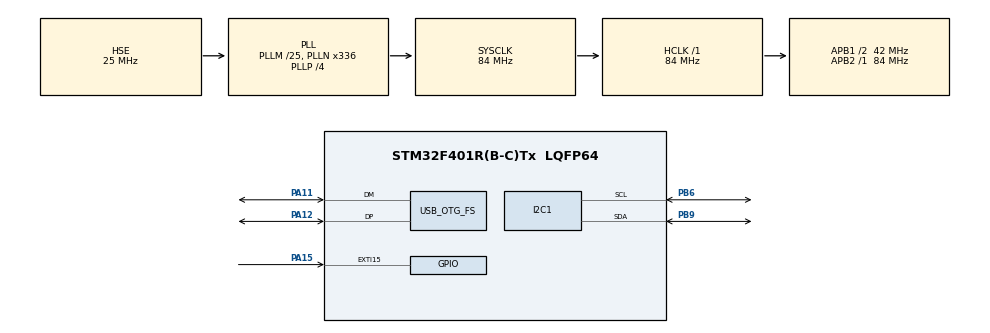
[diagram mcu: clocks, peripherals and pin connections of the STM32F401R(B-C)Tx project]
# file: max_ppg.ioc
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I2C1.I2C_Mode=I2C_Fast
Mcu.Family=STM32F4
Mcu.Name=STM32F401R(B-C)Tx
Mcu.Package=LQFP64
NVIC.EXTI15_10_IRQn=true\:0\:0\:false\:false\:true\:true\:true\:true
NVIC.OTG_FS_IRQn=true\:0\:0\:false\:false\:true\:false\:true\:true
NVIC.PriorityGroup=NVIC_PRIORITYGROUP_4
NVIC.TIM1_TRG_COM_TIM11_IRQn=true\:15\:0\:false\:false\:true\:false\:true\:true
NVIC.TimeBase=TIM1_TRG_COM_TIM11_IRQn
NVIC.TimeBaseIP=TIM11
PA11.Mode=Device_Only
PA11.Signal=USB_OTG_FS_DM
PA12.Mode=Device_Only
PA12.Signal=USB_OTG_FS_DP
PA13.Mode=Serial_Wire
PA13.Signal=SYS_JTMS-SWDIO
PA14.Mode=Serial_Wire
PA14.Signal=SYS_JTCK-SWCLK
PA15.GPIO_ModeDefaultEXTI=GPIO_MODE_IT_FALLING
PA15.GPIO_PuPd=GPIO_PULLUP
PA15.Signal=GPXTI15
PB6.Mode=I2C
PB6.Signal=I2C1_SCL
PB9.Mode=I2C
PB9.Signal=I2C1_SDA
PH0\ -\ OSC_IN.Mode=HSE-External-Oscillator
PH0\ -\ OSC_IN.Signal=RCC_OSC_IN
PH1\ -\ OSC_OUT.Mode=HSE-External-Oscillator
PH1\ -\ OSC_OUT.Signal=RCC_OSC_OUT
ProjectManager.HeapSize=0x1000
ProjectManager.StackSize=0x1000
ProjectManager.TargetToolchain=STM32CubeIDE
RCC.48MHZClocksFreq_Value=48000000
RCC.AHBFreq_Value=84000000
RCC.APB1CLKDivider=RCC_HCLK_DIV2
RCC.APB1Freq_Value=42000000
RCC.APB1TimFreq_Value=84000000
RCC.APB2Freq_Value=84000000
RCC.APB2TimFreq_Value=84000000
RCC.CortexFreq_Value=84000000
RCC.HCLKFreq_Value=84000000
RCC.HSE_VALUE=25000000
RCC.HSI_VALUE=16000000
RCC.LSE_VALUE=32768
RCC.PLLM=25
RCC.PLLN=336
RCC.PLLP=RCC_PLLP_DIV4
RCC.PLLQ=7
RCC.SYSCLKFreq_VALUE=84000000
RCC.SYSCLKSource=RCC_SYSCLKSOURCE_PLLCLK
RCC.VCOOutputFreq_Value=336000000
USB_DEVICE.CLASS_NAME_FS=CDC
USB_DEVICE.VirtualMode=Cdc
USB_DEVICE.VirtualModeFS=Cdc_FS
USB_OTG_FS.VirtualMode=Device_Only
VP_SYS_VS_tim11.Mode=TIM11
VP_USB_DEVICE_VS_USB_DEVICE_CDC_FS.Mode=CDC_FS
board=custom

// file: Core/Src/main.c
/* USER CODE BEGIN Header */
/**
  ******************************************************************************
  * @file           : main.c
  * @brief          : Main program body
  ******************************************************************************
  * @attention
  *
  * Copyright (c) 2026 STMicroelectronics.
  * All rights reserved.
  *
  * This software is licensed under terms that can be found in the LICENSE file
  * in the root directory of this software component.
  * If no LICENSE file comes with this software, it is provided AS-IS.
  *
  ******************************************************************************
  */
/* USER CODE END Header */
#include "main.h"
#include "usb_device.h"

/* USER CODE BEGIN Includes */
#include "../../Drivers/stm32-max30102-master/max30102_for_stm32_hal.h"
#include "usbd_cdc_if.h"
#include <stdio.h>
/* USER CODE END Includes */

I2C_HandleTypeDef hi2c1;

/* USER CODE BEGIN PV */
max30102_t max30102;
volatile uint8_t max30102_data_ready = 0; // Signal flag for 50Hz interrupt
/* USER CODE END PV */

void SystemClock_Config(void);
static void MX_GPIO_Init(void);
static void MX_I2C1_Init(void);

/* USER CODE BEGIN 0 */
void max30102_plot(uint32_t ir_sample, uint32_t red_sample)
{
    char usb_buf[64];
    uint16_t len = snprintf(usb_buf, sizeof(usb_buf), "%lu,%lu\r\n", ir_sample, red_sample);

    uint32_t timeout = HAL_GetTick();
    // Wait until the USB endpoint completes transmission (with a 10ms safety timeout)
    while (CDC_Transmit_FS((uint8_t*)usb_buf, len) == USBD_BUSY)
    {
        if (HAL_GetTick() - timeout > 10)
        {
            break; // Avoid lockup if USB cable is physically unplugged
        }
    }
}
/* USER CODE END 0 */

int main(void)
{

  /* MCU Configuration--------------------------------------------------------*/

  /* Reset of all peripherals, Initializes the Flash interface and the Systick. */
  HAL_Init();

  /* Configure the system clock */
  SystemClock_Config();

  /* Initialize all configured peripherals */
  MX_GPIO_Init();
  MX_I2C1_Init();
  MX_USB_DEVICE_Init();
  /* USER CODE BEGIN 2 */
  	HAL_Delay(1500);
    max30102_init(&max30102, &hi2c1);
    max30102_reset(&max30102);
    HAL_Delay(50);
    max30102_clear_fifo(&max30102);

    // change the fifo average size
	max30102_set_fifo_config(&max30102, max30102_smp_ave_16, 1, 15);
	//change the led pulse width
	max30102_set_led_pulse_width(&max30102, max30102_pw_16_bit);
	//change the adc converter resolution
	max30102_set_adc_resolution(&max30102, max30102_adc_4096);
	//setting sampling rate
	max30102_set_sampling_rate(&max30102, max30102_sr_800);
	//calculate sampling ms == fifo average size / sampling rate
	uint32_t sampling_ms = 20;

	max30102_set_led_current_1(&max30102, 12.5f);
	max30102_set_led_current_2(&max30102, 12.5f);

	max30102_set_mode(&max30102, max30102_spo2);

	// Interrupts are not used (polling), so leave them disabled
	max30102_set_ppg_rdy(&max30102, 0);
	max30102_set_a_full(&max30102, 0);
    /* USER CODE END 2 */

	/* Infinite loop */
    /* USER CODE BEGIN WHILE */
      while (1)
      {
    	    static uint32_t last_poll = 0;

    	    if (HAL_GetTick() - last_poll >= sampling_ms)
    	    {
    	        last_poll = HAL_GetTick();
    	        max30102_read_fifo(&max30102);     // reads all waiting samples, calls max30102_plot
    	    }
      /* USER CODE END WHILE */

  }
}

void SystemClock_Config(void)
{
  RCC_OscInitTypeDef RCC_OscInitStruct = {0};
  RCC_ClkInitTypeDef RCC_ClkInitStruct = {0};

  /** Configure the main internal regulator output voltage
  */
  __HAL_RCC_PWR_CLK_ENABLE();
  __HAL_PWR_VOLTAGESCALING_CONFIG(PWR_REGULATOR_VOLTAGE_SCALE2);

  /** Initializes the RCC Oscillators according to the specified parameters
  * in the RCC_OscInitTypeDef structure.
  */
  RCC_OscInitStruct.OscillatorType = RCC_OSCILLATORTYPE_HSE;
  RCC_OscInitStruct.HSEState = RCC_HSE_ON;
  RCC_OscInitStruct.PLL.PLLState = RCC_PLL_ON;
  RCC_OscInitStruct.PLL.PLLSource = RCC_PLLSOURCE_HSE;
  RCC_OscInitStruct.PLL.PLLM = 25;
  RCC_OscInitStruct.PLL.PLLN = 336;
  RCC_OscInitStruct.PLL.PLLP = RCC_PLLP_DIV4;
  RCC_OscInitStruct.PLL.PLLQ = 7;
  if (HAL_RCC_OscConfig(&RCC_OscInitStruct) != HAL_OK)
  {
    Error_Handler();
  }

  /** Initializes the CPU, AHB and APB buses clocks
  */
  RCC_ClkInitStruct.ClockType = RCC_CLOCKTYPE_HCLK|RCC_CLOCKTYPE_SYSCLK
                              |RCC_CLOCKTYPE_PCLK1|RCC_CLOCKTYPE_PCLK2;
  RCC_ClkInitStruct.SYSCLKSource = RCC_SYSCLKSOURCE_PLLCLK;
  RCC_ClkInitStruct.AHBCLKDivider = RCC_SYSCLK_DIV1;
  RCC_ClkInitStruct.APB1CLKDivider = RCC_HCLK_DIV2;
  RCC_ClkInitStruct.APB2CLKDivider = RCC_HCLK_DIV1;

  if (HAL_RCC_ClockConfig(&RCC_ClkInitStruct, FLASH_LATENCY_2) != HAL_OK)
  {
    Error_Handler();
  }
}

static void MX_I2C1_Init(void)
{

  hi2c1.Instance = I2C1;
  hi2c1.Init.ClockSpeed = 400000;
  hi2c1.Init.DutyCycle = I2C_DUTYCYCLE_2;
  hi2c1.Init.OwnAddress1 = 0;
  hi2c1.Init.AddressingMode = I2C_ADDRESSINGMODE_7BIT;
  hi2c1.Init.DualAddressMode = I2C_DUALADDRESS_DISABLE;
  hi2c1.Init.OwnAddress2 = 0;
  hi2c1.Init.GeneralCallMode = I2C_GENERALCALL_DISABLE;
  hi2c1.Init.NoStretchMode = I2C_NOSTRETCH_DISABLE;
  if (HAL_I2C_Init(&hi2c1) != HAL_OK)
  {
    Error_Handler();
  }

}

static void MX_GPIO_Init(void)
{
  GPIO_InitTypeDef GPIO_InitStruct = {0};

  /* GPIO Ports Clock Enable */
  __HAL_RCC_GPIOH_CLK_ENABLE();
  __HAL_RCC_GPIOA_CLK_ENABLE();
  __HAL_RCC_GPIOB_CLK_ENABLE();

  /*Configure GPIO pin : PA15 */
  GPIO_InitStruct.Pin = GPIO_PIN_15;
  GPIO_InitStruct.Mode = GPIO_MODE_IT_FALLING;
  GPIO_InitStruct.Pull = GPIO_PULLUP;
  HAL_GPIO_Init(GPIOA, &GPIO_InitStruct);

  /* EXTI interrupt init*/
  HAL_NVIC_SetPriority(EXTI15_10_IRQn, 0, 0);
  HAL_NVIC_EnableIRQ(EXTI15_10_IRQn);

}

/* USER CODE BEGIN 4 */
void HAL_GPIO_EXTI_Callback(uint16_t GPIO_Pin)
{
    if (GPIO_Pin == GPIO_PIN_15)
    {
        max30102_data_ready = 1; // Signal main thread to read FIFO
    }
}
/* USER CODE END 4 */

void HAL_TIM_PeriodElapsedCallback(TIM_HandleTypeDef *htim)
{
  if (htim->Instance == TIM11)
  {
    HAL_IncTick();
  }
}

void Error_Handler(void)
{
  __disable_irq();
  while (1)
  {
  }
}
